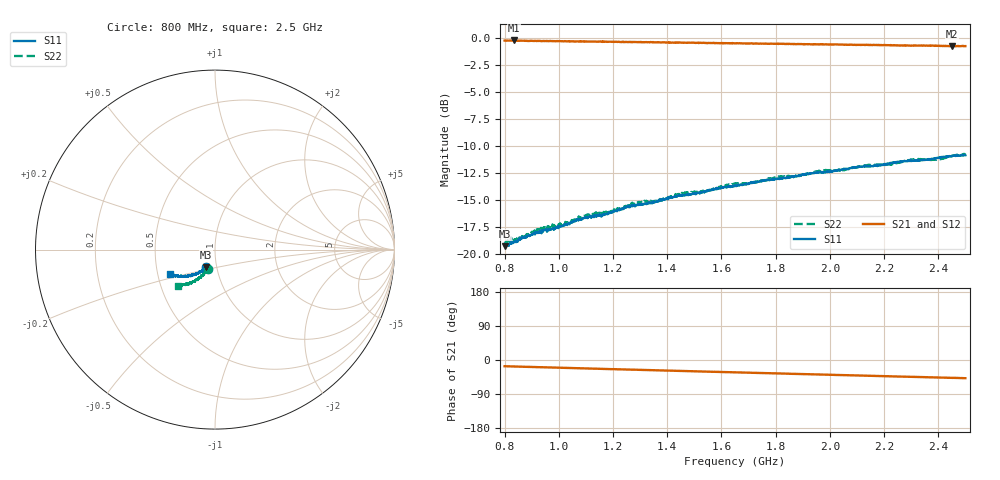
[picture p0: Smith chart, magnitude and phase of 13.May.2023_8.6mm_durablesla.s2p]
!Keysight Technologies N9950B: A.12.38
!Date: Saturday, 13 May 2023 12:14:30
!Timezone: (UTC-06:00) Central Time (US & Canada)
!Model: N9950B
!Serial: MY61131330
!GPS Latitude:
!GPS Longitude:
!GPS TimeStamp: 0001-01-01 00:00:00Z
!GPS Seconds Since Last Read: 0
!CHECKSUM:0740838922
!Correction: S11(ON U)S21(ON U)S12(ON U)S22(ON U)
!S2P File: Measurements:S11,S21,S12,S22:
# Hz S DB R 50
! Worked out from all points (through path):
!   1001 points, 800 MHz to 2.5 GHz, reference 50 ohm
!   highest |S21| = -0.20 dB at 835.7 MHz (marker M1); lowest = -0.7 dB at 2.451 GHz (marker M2)
!   group delay of S21, straight-line fit = 51.5 ps
!   lowest |S11| = -19.3 dB at 801.7 MHz (marker M3), VSWR 1.24, Z = 44.6 - j8.75 ohm
!   |S11| at or under -10 dB: start of sweep to end of sweep
!   |S22| runs from -19.0 to -10.7 dB; largest |S21 - S12| = 0.0056
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8e8  -19.24 -116.9  -0.21 -16.4  -0.22 -16.4  -18.85 -109.0
8.017e8  -19.29 -116.6  -0.20 -16.5  -0.22 -16.4  -18.89 -108.3
8.357e8  -18.94 -117.0  -0.20 -17.1  -0.23 -17.2  -18.68 -109.0
9.428e8  -17.85 -119.7  -0.25 -19.2  -0.26 -19.2  -17.67 -112.3
1.0839e9  -16.82 -121.8  -0.29 -21.9  -0.31 -22.0  -16.65 -114.7
1.1927e9  -16.18 -124.0  -0.32 -24.0  -0.35 -24.0  -16.07 -116.0
1.276e9  -15.47 -127.2  -0.34 -25.5  -0.36 -25.6  -15.36 -118.0
1.3678e9  -15.14 -128.5  -0.38 -27.2  -0.39 -27.2  -15.06 -118.0
1.4579e9  -14.54 -131.3  -0.40 -28.9  -0.42 -28.9  -14.37 -120.0
1.5429e9  -14.19 -132.1  -0.43 -30.6  -0.45 -30.6  -14.23 -121.4
1.65e9  -13.71 -135.2  -0.47 -32.6  -0.46 -32.5  -13.49 -122.8
1.7095e9  -13.34 -136.0  -0.46 -33.8  -0.48 -33.6  -13.38 -123.5
1.8047e9  -13.06 -138.2  -0.51 -35.3  -0.52 -35.4  -12.85 -125.4
1.8897e9  -12.74 -139.4  -0.54 -37.0  -0.55 -37.0  -12.74 -126.6
1.9339e9  -12.52 -140.9  -0.56 -37.7  -0.57 -37.8  -12.44 -127.9
2.0529e9  -12.09 -142.7  -0.60 -39.9  -0.59 -39.9  -12.25 -129.0
2.1481e9  -11.89 -145.5  -0.61 -41.7  -0.63 -41.7  -11.76 -130.1
2.2178e9  -11.64 -145.9  -0.63 -43.0  -0.65 -42.9  -11.69 -131.5
2.3062e9  -11.36 -148.6  -0.68 -44.6  -0.69 -44.4  -11.24 -132.5
2.3946e9  -11.10 -149.4  -0.70 -46.2  -0.71 -46.0  -11.24 -134.2
2.4507e9  -10.93 -151.2  -0.75 -47.2  -0.74 -47.2  -10.92 -135.5
2.5e9  -10.85 -152.1  -0.72 -48.0  -0.75 -47.9  -10.78 -135.1
